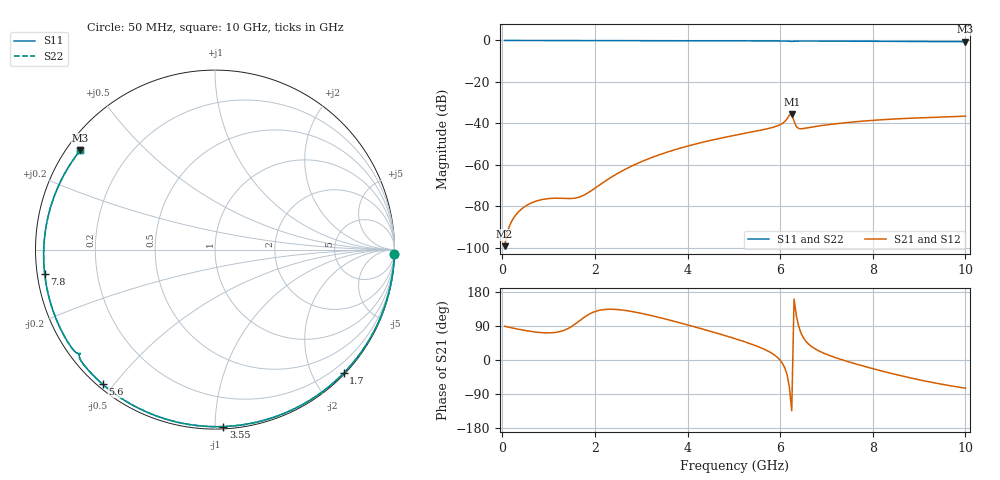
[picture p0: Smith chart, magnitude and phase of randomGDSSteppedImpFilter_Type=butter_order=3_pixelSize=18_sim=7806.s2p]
! freq	dB(S11)	phase(S11)	dB(S12)	phase(S12)
!  dB(S21)	phase(S21)	dB(S22)	phase(S22)
!S-par simulation data
#  GHz  S  DB  R 50
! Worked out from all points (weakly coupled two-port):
!   200 points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, 50 MHz to 10 GHz, reference 50 ohm
!   highest |S21| = -35.47 dB at 6.25 GHz (marker M1); lowest = -99.2 dB at 50 MHz (marker M2)
!   lowest |S11| = -0.6 dB at 10 GHz (marker M3), VSWR 28.62, Z = 1.94 + j16.4 ohm
!   |S11| at or under -10 dB: nowhere
!   |S22| runs from -0.6 to 0.0 dB; largest |S21 - S12| = 0
!   S11 on the Smith chart (normalised r, x): 50 MHz: 0, -86; 1.7 GHz: 0.02, -2.49; 3.55 GHz: 0.01, -1.05; 5.6 GHz: 0.01, -0.47; 7.8 GHz: 0.02, -0.07; 10 GHz: 0.04, +0.33
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0.05  -0.00 -1.3  -99.23 89.1  -99.23 89.1  -0.00 -1.3
0.5  -0.02 -13.1  -79.94 77.8  -79.94 77.8  -0.02 -13.1
0.9  -0.03 -23.5  -76.55 71.8  -76.55 71.8  -0.03 -23.5
1.5  -0.05 -38.8  -76.21 88.8  -76.21 88.8  -0.05 -38.8
1.7  -0.05 -43.8  -75.24 106.6  -75.24 106.6  -0.05 -43.8
1.75  -0.06 -45.1  -74.75 111.1  -74.75 111.1  -0.06 -45.1
2.6  -0.08 -65.6  -62.78 131.7  -62.78 131.7  -0.08 -65.6
3.4  -0.11 -84.0  -55.07 111.9  -55.07 111.9  -0.11 -84.0
3.55  -0.11 -87.3  -53.95 107.3  -53.95 107.3  -0.11 -87.3
4.25  -0.14 -102.4  -49.52 84.2  -49.52 84.2  -0.14 -102.4
5.05  -0.17 -118.8  -45.61 55.4  -45.61 55.4  -0.17 -118.9
5.6  -0.20 -129.8  -43.19 31.5  -43.19 31.5  -0.20 -129.8
6  -0.23 -137.8  -40.63 -0.6  -40.63 -0.6  -0.23 -137.8
6.1  -0.26 -139.9  -39.11 -20.6  -39.11 -20.6  -0.26 -139.9
6.25  -0.47 -142.4  -35.47 -133.9  -35.47 -133.9  -0.47 -142.4
6.35  -0.31 -143.6  -41.55 117.0  -41.55 117.0  -0.31 -143.7
6.4  -0.29 -144.7  -42.47 88.9  -42.47 88.9  -0.29 -144.7
6.7  -0.28 -150.8  -41.70 33.6  -41.70 33.6  -0.28 -150.8
7.8  -0.37 -171.9  -38.88 -16.1  -38.88 -16.1  -0.37 -171.9
8.35  -0.42 177.4  -38.02 -33.8  -38.02 -33.8  -0.42 177.4
9.2  -0.51 160.4  -37.18 -57.2  -37.18 -57.2  -0.51 160.4
10  -0.61 143.6  -36.51 -74.4  -36.51 -74.4  -0.61 143.6
